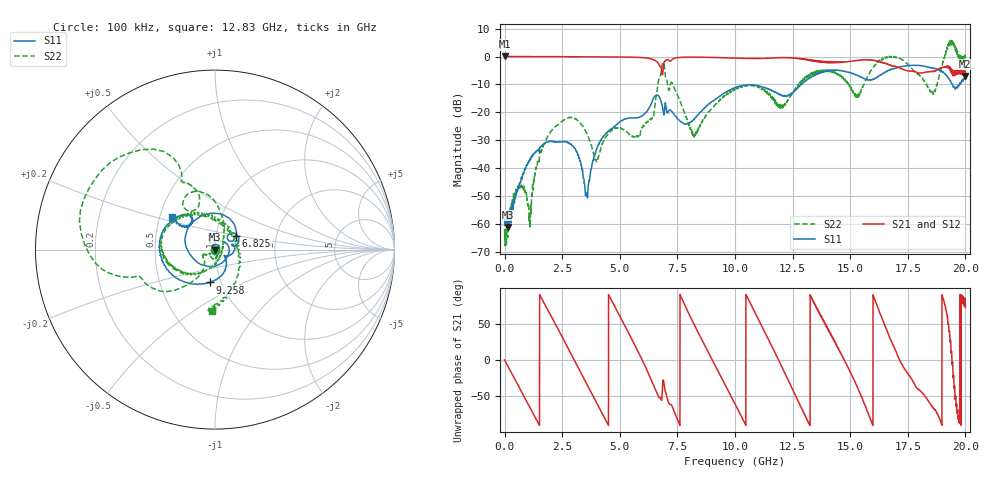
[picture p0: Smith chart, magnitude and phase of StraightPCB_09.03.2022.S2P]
# Hz S RI R 50.00
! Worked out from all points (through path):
!   5000 points, 100 kHz to 20 GHz, reference 50 ohm
!   highest |S21| = 0.00 dB at 100 kHz (marker M1); lowest = -7.0 dB at 19.99 GHz (marker M2)
!   lowest |S11| = -61.0 dB at 148.1 MHz (marker M3), VSWR 1.00, Z = 49.9 - j0.0514 ohm
!   |S11| at or under -10 dB: start of sweep to 12.87 GHz; 19.44 GHz to 19.75 GHz (307.8 MHz wide, 1.57 % of centre)
!   |S22| runs from -67.9 to 5.7 dB; largest |S21 - S12| = 0
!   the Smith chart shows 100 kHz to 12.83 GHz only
!   S11 on the Smith chart (normalised r, x): 100 kHz: 1.00, +0.00; 6.825 GHz: 1.25, +0.19; 9.258 GHz: 0.88, -0.34; 12.83 GHz: 0.58, +0.24
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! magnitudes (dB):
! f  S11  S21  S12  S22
! 100 kHz  -58.7  0.0  0.0  -61.7
! 148.1 MHz  -61.0  0.0  0.0  -59.9
! 616.2 MHz  -46.5  0.0  0.0  -46.7
! 1.104 GHz  -36.6  0.0  0.0  -60.6
! 1.728 GHz  -31.1  0.0  0.0  -30.9
! 3.337 GHz  -39.1  -0.1  -0.1  -24.4
! 3.585 GHz  -50.0  -0.1  -0.1  -27.9
! 4.001 GHz  -33.1  -0.1  -0.1  -37.3
! 5.797 GHz  -21.8  -0.3  -0.3  -28.5
! 6.669 GHz  -14.0  -2.4  -2.4  -9.2
! 6.825 GHz  -17.1  -5.7  -5.7  -3.4
! 8.218 GHz  -22.5  -0.2  -0.2  -28.7
! 9.258 GHz  -14.6  -0.4  -0.4  -16.2
! 10 GHz  -11.1  -0.6  -0.6  -11.5
! 12.83 GHz  -10.3  -0.7  -0.7  -9.5
! 13.33 GHz  -7.2  -1.2  -1.2  -6.5
! 15.29 GHz  -6.7  -1.4  -1.4  -14.7
! 16.67 GHz  -5.0  -2.9  -2.9  -0.3
! 18.56 GHz  -4.1  -5.4  -5.4  -13.1
! 19.34 GHz  -8.6  -4.0  -4.0  5.7
! 19.99 GHz  -7.6  -7.0  -7.0  -0.6
! 20 GHz  -7.3  -6.3  -6.3  -1.8
